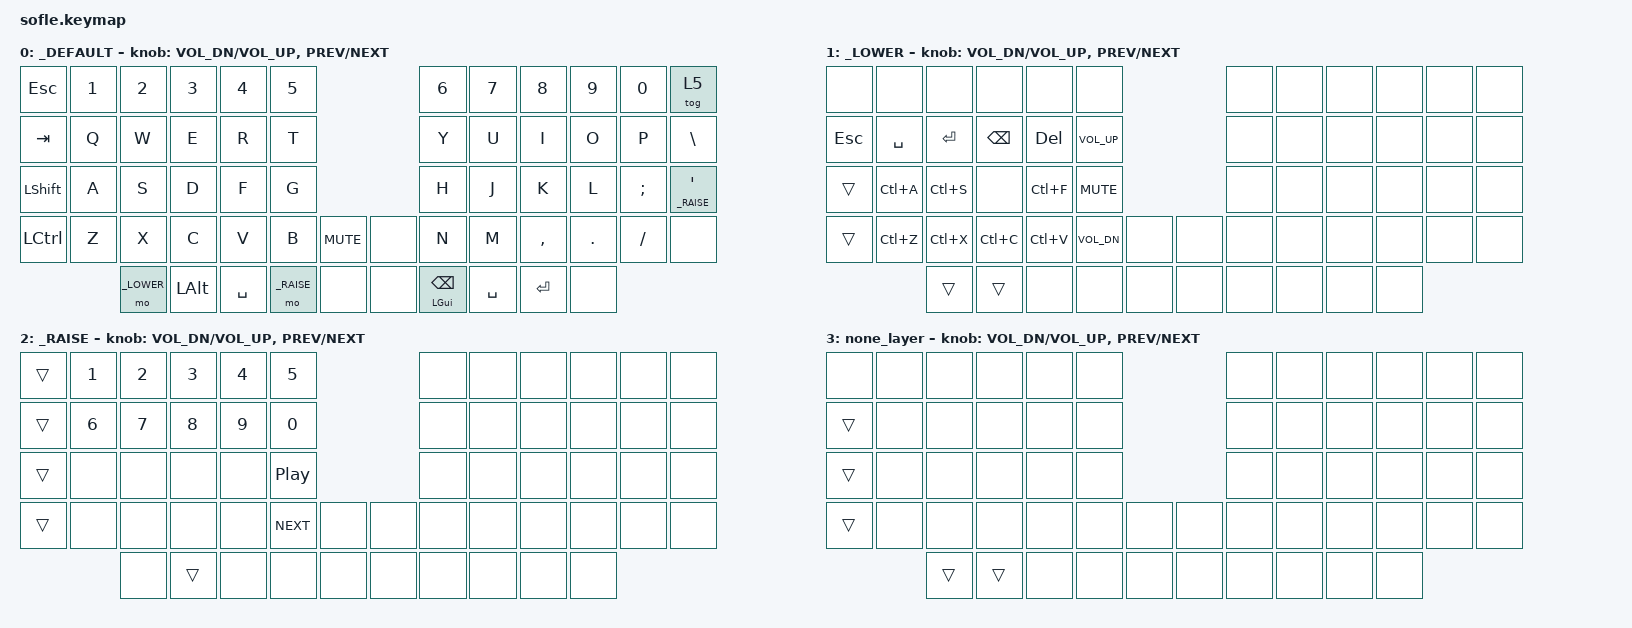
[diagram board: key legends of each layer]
/*
 * Copyright (c) 2020 The ZMK Contributors
 *
 * SPDX-License-Identifier: MIT
 */

#include <behaviors.dtsi>
#include <dt-bindings/zmk/keys.h>
#include <dt-bindings/zmk/bt.h>
#include <dt-bindings/zmk/outputs.h>

#define _DEFAULT 0
#define _LOWER 2
#define _RAISE 3
#define none_layer 15

&lt {
    tapping-term-ms = <200>;
};

/ {
    keymap {
        compatible = "zmk,keymap";

        _DEFAULT {
            bindings = <
&kp ESC     &kp N1      &kp N2      &kp N3      &kp N4      &kp N5                              &kp N6      &kp N7       &kp N8      &kp N9      &kp N0      &tog 5
&kp TAB     &kp Q       &kp W       &kp E       &kp R       &kp T                               &kp Y       &kp U        &kp I       &kp O       &kp P       &kp BSLH
&kp LSHFT   &kp A       &kp S       &kp D       &kp F       &kp G                               &kp H       &kp J        &kp K       &kp L       &kp SEMI    &lt _RAISE SQT
&kp LCTRL   &kp Z       &kp X       &kp C       &kp V       &kp B       &kp C_MUTE  &none       &kp N       &kp M        &kp COMMA   &kp DOT     &kp FSLH    &none
                        &mo _LOWER  &kp LALT    &kp SPACE   &mo _RAISE  &none       &none       &mt LGUI BSPC &kp SPACE  &kp RET     &none 
            >;

            sensor-bindings = <&inc_dec_kp C_VOL_DN C_VOL_UP &inc_dec_kp C_PREV C_NEXT>;
        };

        _LOWER {
            bindings = <
&none       &none       &none       &none       &none       &none                               &none       &none       &none       &none       &none       &none
&kp ESC     &kp SPACE   &kp RET     &kp BSPC    &kp DEL     &kp C_VOL_UP                        &none       &none       &none       &none       &none       &none
&trans      &kp LC(A)   &kp LC(S)   &none       &kp LC(F)   &kp C_MUTE                          &none       &none       &none       &none       &none       &none
&trans      &kp LC(Z)   &kp LC(X)   &kp LC(C)   &kp LC(V)   &kp C_VOL_DN &none      &none       &none       &none       &none       &none       &none       &none
                        &trans      &trans      &none       &none        &none      &none       &none       &none       &none       &none
            >;

            sensor-bindings = <&inc_dec_kp C_VOL_DN C_VOL_UP &inc_dec_kp C_PREV C_NEXT>;
        };

        _RAISE {
            bindings = <
&trans      &kp N1      &kp N2      &kp N3      &kp N4      &kp N5                              &none       &none       &none       &none       &none       &none
&trans      &kp N6      &kp N7      &kp N8      &kp N9      &kp N0                              &none       &none       &none       &none       &none       &none
&trans      &none       &none       &none       &none       &kp C_PP                            &none       &none       &none       &none       &none       &none
&trans      &none       &none       &none       &none       &kp C_NEXT  &none       &none       &none       &none       &none       &none       &none       &none
                        &none       &trans      &none       &none       &none       &none       &none       &none       &none       &none
            >;

            sensor-bindings = <&inc_dec_kp C_VOL_DN C_VOL_UP &inc_dec_kp C_PREV C_NEXT>;
        };
        
        none_layer {
// ------------------------------------------------------------------------------------------------------------
// |        |           |           |           |           |           |                       |           |           |           |           |           |           |
// |        |           |           |           |           |           |                       |           |           |           |           |           |           |
// |        |           |           |           |           |           |                       |           |           |           |           |           |           |
// |        |           |           |           |           |           |           ||          |           |           |           |           |           |           |
//                      |           |           |           |           |           ||          |           |           |           |           |                       
            bindings = <
&none       &none       &none       &none       &none       &none                               &none       &none       &none       &none       &none       &none
&trans      &none       &none       &none       &none       &none                               &none       &none       &none       &none       &none       &none
&trans      &none       &none       &none       &none       &none                               &none       &none       &none       &none       &none       &none
&trans      &none       &none       &none       &none       &none       &none       &none       &none       &none       &none       &none       &none       &none
                        &trans      &trans      &none       &none       &none       &none       &none       &none       &none       &none
            >;

            sensor-bindings = <&inc_dec_kp C_VOL_DN C_VOL_UP &inc_dec_kp C_PREV C_NEXT>;
        };
    };
};
